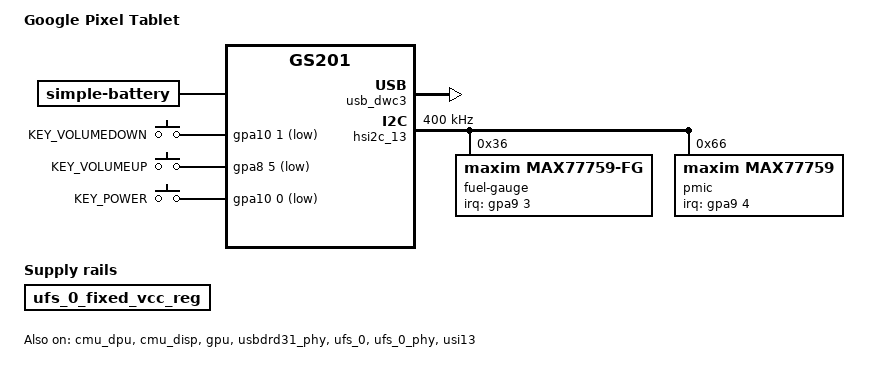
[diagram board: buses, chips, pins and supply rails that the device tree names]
// SPDX-License-Identifier: GPL-2.0-only
/*
 * Google Pixel Tablet (tangorpro) - Board device tree.
 */

/dts-v1/;

#include <dt-bindings/input/input.h>
#include <dt-bindings/soc/samsung,exynos-usi.h>
#include <dt-bindings/usb/pd.h>
#include "gs201.dtsi"

/ {
	model = "Google Pixel Tablet";
	compatible = "google,gs201-tangorpro", "google,gs201-tangor", "google,gs201";

	/*
	 * ABL base-DTB match: (product id 0x09855000 | major rev). B0 = 1.
	 */
	soc_id = <0x09855001 0x0>;

	aliases {
		spi0 = &spi_0;
	};

	chosen {
		bootargs = "console=tty0 fbcon=font:TER16x32 quiet splash plymouth.force-scale=1 vt.global_cursor_default=0 panic=10 clk_ignore_unused pd_ignore_unused rdinit=/init omamobile.ufs-probe";
		#address-cells = <2>;
		#size-cells = <1>;
		ranges;

		framebuffer0: framebuffer@fac00000 {
			compatible = "simple-framebuffer";
			reg = <0x0 0xfac00000 (1600 * 2560 * 4)>;
			memory-region = <&cont_splash_mem>;
			width = <1600>;
			height = <2560>;
			stride = <(1600 * 4)>;
			format = "a8r8g8b8";
		};
	};

	battery: battery {
		compatible = "simple-battery";
		charge-full-design-microamp-hours = <7020000>;
		voltage-max-design-microvolt = <4450000>;
		voltage-min-design-microvolt = <3300000>;
	};

	gpio-keys {
		compatible = "gpio-keys";
		pinctrl-0 = <&key_voldown>, <&key_volup>, <&key_power>;
		pinctrl-names = "default";

		button-vol-down {
			label = "KEY_VOLUMEDOWN";
			linux,code = <KEY_VOLUMEDOWN>;
			gpios = <&gpa10 1 GPIO_ACTIVE_LOW>;
			wakeup-source;
		};

		button-vol-up {
			label = "KEY_VOLUMEUP";
			linux,code = <KEY_VOLUMEUP>;
			gpios = <&gpa8 5 GPIO_ACTIVE_LOW>;
			wakeup-source;
		};

		button-power {
			label = "KEY_POWER";
			linux,code = <KEY_POWER>;
			gpios = <&gpa10 0 GPIO_ACTIVE_LOW>;
			wakeup-source;
		};
	};

	ufs_0_fixed_vcc_reg: regulator-ufs-vcc {
		compatible = "regulator-fixed";
		regulator-name = "ufs-vcc";
		regulator-always-on;
		regulator-boot-on;
	};

	reserved-memory {
		#address-cells = <2>;
		#size-cells = <1>;
		ranges;

		ramoops@fd3ff000 {
			compatible = "ramoops";
			reg = <0x0 0xfd3ff000 0x400000>;
			console-size = <0x200000>;
			pmsg-size = <0x200000>;
		};

		cont_splash_mem: splash@fac00000 {
			reg = <0x0 0xfac00000 (1600 * 2560 * 4)>;
			no-map;
		};
	};
};

&cmu_dpu {
	status = "okay";
};

&cmu_disp {
	status = "okay";
};

&gpu {
	status = "okay";
};

&usbdrd31_phy {
	status = "okay";
};

&usb_dwc3 {
	status = "okay";
};

&ufs_0 {
	vcc-supply = <&ufs_0_fixed_vcc_reg>;
	status = "okay";
};

&ufs_0_phy {
	status = "okay";
};

&usi13 {
	samsung,mode = <USI_MODE_I2C>;
	status = "okay";
};

&hsi2c_13 {
	clock-frequency = <400000>;
	status = "okay";

	fuel-gauge@36 {
		compatible = "maxim,max77759-fg";
		reg = <0x36>;
		interrupts-extended = <&gpa9 3 IRQ_TYPE_LEVEL_LOW>;
		pinctrl-0 = <&if_pmic_fg_int>;
		pinctrl-names = "default";
		shunt-resistor-micro-ohms = <5000>;
		monitored-battery = <&battery>;
	};

	pmic@66 {
		compatible = "maxim,max77759";
		reg = <0x66>;
		interrupts-extended = <&gpa9 4 IRQ_TYPE_LEVEL_LOW>;
		pinctrl-0 = <&if_pmic_int>;
		pinctrl-names = "default";
		interrupt-controller;
		#interrupt-cells = <2>;

		gpio {
			compatible = "maxim,max77759-gpio";
			gpio-controller;
			#gpio-cells = <2>;
			interrupt-controller;
			#interrupt-cells = <2>;
		};
	};
};

&pinctrl_gpio_alive {
	if_pmic_fg_int: if-pmic-fg-int-pins {
		samsung,pins = "gpa9-3";
		samsung,pin-function = <GS101_PIN_FUNC_EINT>;
		samsung,pin-pud = <GS101_PIN_PULL_UP>;
		samsung,pin-drv = <GS101_PIN_DRV_2_5_MA>;
	};

	if_pmic_int: if-pmic-int-pins {
		samsung,pins = "gpa9-4";
		samsung,pin-function = <GS101_PIN_FUNC_EINT>;
		samsung,pin-pud = <GS101_PIN_PULL_UP>;
		samsung,pin-drv = <GS101_PIN_DRV_2_5_MA>;
	};
};
